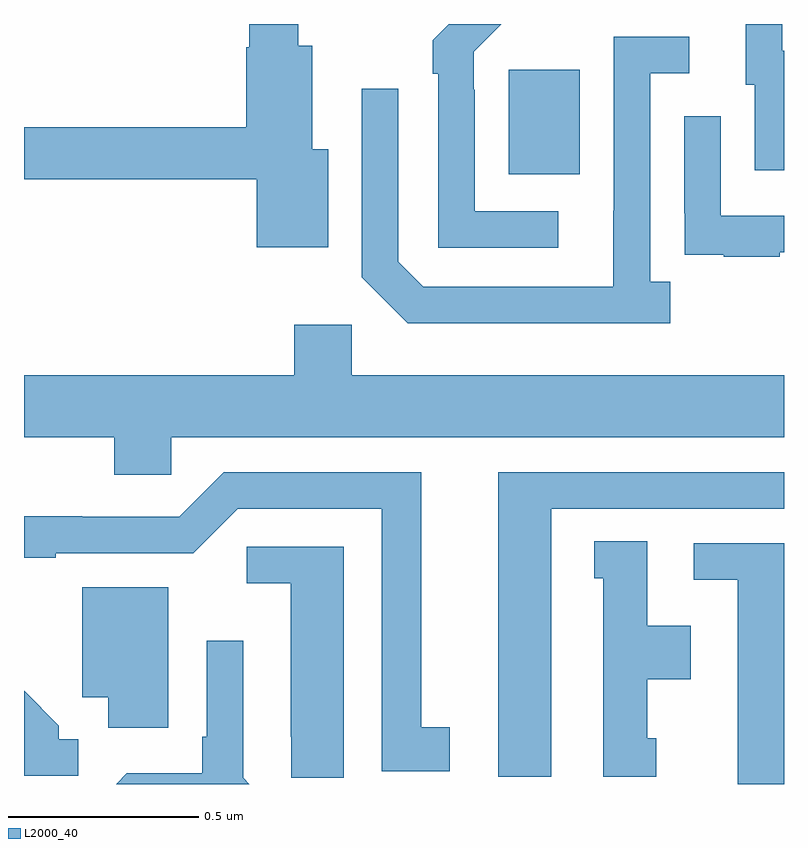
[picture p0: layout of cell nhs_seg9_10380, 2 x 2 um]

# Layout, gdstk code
import gdstk
lib = gdstk.Library(unit=1e-6, precision=1e-09)
def R(c, l, rs):  # rectangles x0, y0, x1, y1
    for r in rs: c.add(gdstk.rectangle(r[:2], r[2:], *l))
def P(c, l, *ps):  # polygons
    for p in ps: c.add(gdstk.Polygon(p, *l))
L2000_40 = (2000, 40)

nhs_seg9_10380 = lib.new_cell('nhs_seg9_10380')
R(nhs_seg9_10380, L2000_40, [(243.275,1205.105,243.463,1205.38)])
P(nhs_seg9_10380, L2000_40, [(242.8,1205.17),(242.758,1205.17),(242.758,1205.443),(242.722,1205.443),(242.722,1205.5),(242.593,1205.5),(242.593,1205.439),(242.585,1205.439),(242.585,1205.228),(242,1205.228),(242,1205.092),(242.612,1205.092),(242.612,1204.913),(242.8,1204.913)],
  [(244,1205.43),(243.996,1205.43),(243.996,1205.5),(243.899,1205.5),(243.899,1205.34),(243.923,1205.34),(243.923,1205.115),(244,1205.115)],
  [(243.406,1205.007),(243.186,1205.007),(243.186,1205.327),(243.183,1205.327),(243.183,1205.427),(243.256,1205.5),(243.118,1205.5),(243.075,1205.457),(243.075,1205.369),(243.09,1205.369),(243.09,1204.911),(243.406,1204.911)],
  [(243.7,1204.822),(243.648,1204.822),(243.648,1205.37),(243.751,1205.37),(243.751,1205.466),(243.552,1205.466),(243.552,1205.009),(243.551,1205.009),(243.551,1204.809),(243.051,1204.809),(242.985,1204.875),(242.985,1205.329),(242.889,1205.329),(242.889,1204.833),(243.01,1204.712),(243.7,1204.712)],
  [(243.989,1204.899),(244,1204.899),(244,1204.995),(243.834,1204.995),(243.834,1205.257),(243.738,1205.257),(243.738,1205.002),(243.739,1205.002),(243.739,1204.893),(243.841,1204.893),(243.841,1204.887),(243.989,1204.887)],
  [(242.388,1204.412),(244,1204.412),(244,1204.576),(242.862,1204.576),(242.862,1204.708),(242.711,1204.708),(242.711,1204.576),(242,1204.576),(242,1204.412),(242.237,1204.412),(242.237,1204.314),(242.388,1204.314)],
  [(243.388,1204.224),(244,1204.224),(244,1204.32),(243.248,1204.32),(243.248,1203.519),(243.388,1203.519)],
  [(243.121,1203.65),(243.046,1203.65),(243.046,1204.32),(242.526,1204.32),(242.409,1204.203),(242.153,1204.203),(242.153,1204.205),(242,1204.205),(242,1204.095),(242.083,1204.095),(242.083,1204.107),(242.445,1204.107),(242.562,1204.224),(242.942,1204.224),(242.942,1203.534),(243.121,1203.534)],
  [(243.664,1203.621),(243.64,1203.621),(243.64,1203.776),(243.754,1203.776),(243.754,1203.916),(243.64,1203.916),(243.64,1204.139),(243.5,1204.139),(243.5,1204.041),(243.524,1204.041),(243.524,1203.519),(243.664,1203.519)],
  [(244,1204.134),(243.762,1204.134),(243.762,1204.038),(243.878,1204.038),(243.878,1203.5),(244,1203.5)],
  [(242.842,1204.125),(242.586,1204.125),(242.586,1204.028),(242.702,1204.028),(242.702,1203.625),(242.703,1203.625),(242.703,1203.517),(242.842,1203.517)],
  [(242.38,1204.018),(242.153,1204.018),(242.153,1203.728),(242.222,1203.728),(242.222,1203.648),(242.38,1203.648)],
  [(242.577,1203.516),(242.577,1203.877),(242.481,1203.877),(242.481,1203.625),(242.469,1203.625),(242.469,1203.528),(242.271,1203.528),(242.243,1203.5),(242.593,1203.5)],
  [(242.143,1203.618),(242.092,1203.618),(242.092,1203.653),(242,1203.745),(242,1203.522),(242.143,1203.522)])

lib.write_gds('nhs_seg9_10380.gds')
